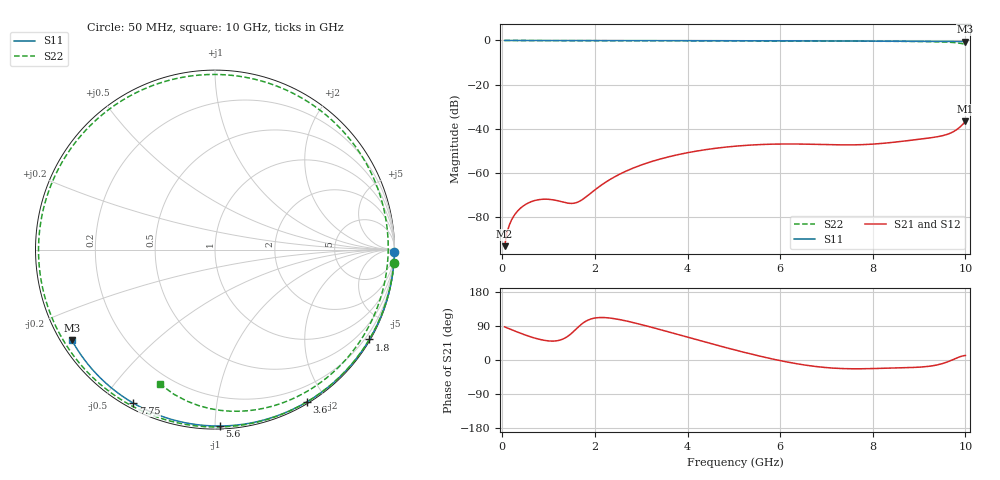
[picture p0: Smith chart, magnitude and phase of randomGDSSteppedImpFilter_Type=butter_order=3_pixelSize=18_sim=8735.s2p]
! freq	dB(S11)	phase(S11)	dB(S12)	phase(S12)
!  dB(S21)	phase(S21)	dB(S22)	phase(S22)
!S-par simulation data
#  GHz  S  DB  R 50
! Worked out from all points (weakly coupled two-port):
!   200 points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, 50 MHz to 10 GHz, reference 50 ohm
!   highest |S21| = -36.66 dB at 10 GHz (marker M1); lowest = -93.1 dB at 50 MHz (marker M2)
!   lowest |S11| = -0.5 dB at 10 GHz (marker M3), VSWR 34.72, Z = 1.56 - j14.5 ohm
!   |S11| at or under -10 dB: nowhere
!   |S22| runs from -1.8 to 0.0 dB; largest |S21 - S12| = 0
!   S11 on the Smith chart (normalised r, x): 50 MHz: open; 1.8 GHz: 0.03, -3.71; 3.6 GHz: 0.02, -1.77; 5.6 GHz: 0.02, -1.03; 7.75 GHz: 0.02, -0.60; 10 GHz: 0.03, -0.29
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0.05  -0.00 -0.9  -93.10 87.5  -93.10 87.5  -0.00 -4.3
0.25  -0.01 -4.3  -79.39 77.5  -79.39 77.5  -0.03 -21.3
0.5  -0.01 -8.5  -74.24 65.8  -74.24 65.8  -0.06 -41.9
0.85  -0.02 -14.4  -71.90 53.2  -71.90 53.2  -0.08 -68.9
1.25  -0.03 -21.1  -72.80 52.7  -72.80 52.7  -0.10 -96.5
1.55  -0.03 -26.1  -73.66 76.6  -73.66 76.6  -0.12 -115.0
1.75  -0.04 -29.4  -71.70 98.1  -71.70 98.1  -0.12 -126.3
1.8  -0.04 -30.2  -70.92 102.1  -70.92 102.1  -0.12 -129.0
2.15  -0.05 -35.9  -65.31 112.1  -65.31 112.1  -0.13 -147.1
2.55  -0.05 -42.4  -60.36 106.3  -60.36 106.3  -0.14 -165.8
3.4  -0.07 -55.8  -53.72 80.5  -53.72 80.5  -0.16 158.6
3.6  -0.08 -58.9  -52.62 73.8  -52.62 73.8  -0.16 150.7
4.35  -0.10 -70.3  -49.55 48.4  -49.55 48.4  -0.19 121.9
5.05  -0.12 -80.6  -47.81 25.6  -47.81 25.6  -0.21 95.5
5.6  -0.15 -88.5  -47.09 9.1  -47.09 9.1  -0.23 74.8
6.7  -0.20 -103.8  -46.99 -16.1  -46.99 -16.1  -0.26 33.5
7.25  -0.24 -111.3  -47.24 -22.1  -47.24 -22.1  -0.29 13.2
7.75  -0.27 -118.0  -47.17 -23.1  -47.17 -23.1  -0.32 -5.0
8.35  -0.32 -125.9  -46.30 -21.5  -46.30 -21.5  -0.37 -26.7
9.35  -0.42 -139.1  -43.73 -14.0  -43.73 -14.0  -0.59 -65.6
9.75  -0.47 -144.4  -41.17 1.9  -41.17 1.9  -0.95 -87.9
10  -0.50 -147.7  -36.66 12.0  -36.66 12.0  -1.83 -112.2
